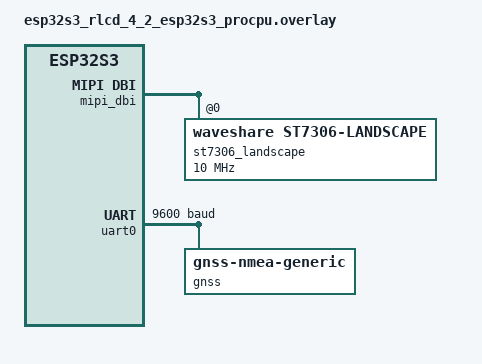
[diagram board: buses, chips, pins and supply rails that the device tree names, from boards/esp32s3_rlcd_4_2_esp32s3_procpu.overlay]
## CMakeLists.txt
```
# SPDX-License-Identifier: Apache-2.0

cmake_minimum_required(VERSION 3.28.0)

list(APPEND DTS_ROOT ${CMAKE_CURRENT_SOURCE_DIR})

find_package(Zephyr REQUIRED HINTS $ENV{ZEPHYR_BASE})
project(jumpback)

target_sources(app PRIVATE
	src/main.c
	src/tacho.c
	src/speed.c
	src/speedo.c
)

target_sources_ifdef(CONFIG_ST7306_WAVESHARE app PRIVATE
	drivers/display_st7306_waveshare.c
)

target_include_directories(app PRIVATE include)
```

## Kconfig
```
# Copyright (c) 2026 Josh Gav
# SPDX-License-Identifier: Apache-2.0

mainmenu "Jumpback"

config ST7306_WAVESHARE
	bool "Waveshare ST7306 landscape display driver"
	default y
	depends on DT_HAS_WAVESHARE_ST7306_LANDSCAPE_ENABLED
	select MIPI_DBI
	help
	  Landscape driver for the reflective LCD on the Waveshare
	  ESP32-S3-RLCD-4.2. Rotates the framebuffer in software.

if ST7306_WAVESHARE

config ST7306_WAVESHARE_CONV_BUFFER_STRIPS
	int "Conversion buffer size, in panel row-address strips"
	default 16
	range 1 200
	help
	  Rotated panel rows staged per SPI transaction, two rows per strip.
	  200 stages a whole 300x400 frame.

endif # ST7306_WAVESHARE

source "Kconfig.zephyr"
```

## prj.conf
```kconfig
CONFIG_DISPLAY=y
CONFIG_DISPLAY_LOG_LEVEL_ERR=y

CONFIG_LVGL=y
CONFIG_LV_Z_MEM_POOL_SIZE=65536
CONFIG_LV_USE_ASSERT_MALLOC=y
CONFIG_LV_Z_PARTIAL_REFRESH=y
CONFIG_LV_Z_VDB_SIZE=100
CONFIG_LV_FONT_MONTSERRAT_20=y
CONFIG_LV_FONT_MONTSERRAT_48=y

CONFIG_MAIN_STACK_SIZE=4096

CONFIG_LOG=y
CONFIG_LOG_MODE_IMMEDIATE=y

CONFIG_GNSS=y
CONFIG_GNSS_LOG_LEVEL_INF=y
CONFIG_GNSS_SATELLITES=n
CONFIG_SERIAL=y
CONFIG_UART_INTERRUPT_DRIVEN=y
```

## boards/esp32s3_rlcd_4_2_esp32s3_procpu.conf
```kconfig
CONFIG_ST7306_WAVESHARE_CONV_BUFFER_STRIPS=200
```

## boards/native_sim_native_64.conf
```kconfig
CONFIG_LV_COLOR_DEPTH_1=y
CONFIG_LV_Z_BITS_PER_PIXEL=1
CONFIG_SDL_DISPLAY_MONO_VTILED=n
```

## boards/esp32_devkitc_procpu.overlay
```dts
/*
 * Copyright (c) 2026 Josh Gav
 */

#include <zephyr/dt-bindings/gpio/gpio.h>

/ {
	aliases {
		led0 = &user_led;
	};

	leds {
		compatible = "gpio-leds";

		user_led: led_0 {
			gpios = <&gpio0 2 GPIO_ACTIVE_HIGH>;
			label = "User LED";
		};
	};
};
```

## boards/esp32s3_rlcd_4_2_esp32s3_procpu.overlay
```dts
/*
 * Copyright (c) 2026 Josh Gav
 *
 * SPDX-License-Identifier: Apache-2.0
 */

#include <dt-bindings/display/st7306.h>

#define RLCD_PANEL_WIDTH  300
#define RLCD_PANEL_HEIGHT 400

&st7306 {
	status = "disabled";
};

/ {
	mipi_dbi {
		st7306_landscape: st7306_landscape@0 {
			compatible = "waveshare,st7306-landscape";
			reg = <0>;
			status = "okay";

			mipi-max-frequency = <10000000>;
			mipi-mode = "MIPI_DBI_MODE_SPI_4WIRE";

			panel-width = <RLCD_PANEL_WIDTH>;
			panel-height = <RLCD_PANEL_HEIGHT>;
			width = <RLCD_PANEL_HEIGHT>;
			height = <RLCD_PANEL_WIDTH>;

			start-line = <0>;
			start-column = <216>;

			nvm-load = [17 02];
			gate-voltages = [11 04];
			vsh = [69 69 69 69];
			vsl = [19 19 19 19];
			vshn = [4b 4b 4b 4b];
			vsln = [19 19 19 19];
			osc-settings = <ST7306_OSC_ENABLE>;
			framerate = <(ST7306_FRAMERATE_HPM_51HZ | ST7306_FRAMERATE_LPM_1HZ)>;
			multiplex-ratio = <(RLCD_PANEL_HEIGHT / ST7306_GATE_LINES_PER_MULTIPLEX_STEP)>;
			source-voltage = <0>;
			remap-value = <(ST7306_MADCTL_MX | ST7306_MADCTL_DO)>;
			panel-settings = <0x29>;
			hpm-gate-waveform = [e5 f6 05 46 77 77 77 77 76 45];
			lpm-gate-waveform = [05 46 77 77 77 77 76 45];
		};
	};

	chosen {
		zephyr,display = &st7306_landscape;
	};

	aliases {
		gnss = &gnss;
	};
};

&uart0 {
	status = "okay";
	current-speed = <9600>;

	gnss: gnss {
		compatible = "gnss-nmea-generic";
		status = "okay";
	};
};
```

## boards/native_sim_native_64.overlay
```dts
/*
 * Copyright (c) 2026 Josh Gav
 *
 * SPDX-License-Identifier: Apache-2.0
 */

#include <zephyr/dt-bindings/display/panel.h>

&sdl_dc {
	width = <400>;
	height = <300>;
	pixel-format = <PANEL_PIXEL_FORMAT_MONO01>;
};

/ {
	gnss: gnss-emul {
		compatible = "zephyr,gnss-emul";
		status = "okay";
	};

	aliases {
		gnss = &gnss;
	};
};
```

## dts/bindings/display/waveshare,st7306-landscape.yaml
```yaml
# Copyright (c) 2026 Josh Gav
# SPDX-License-Identifier: Apache-2.0

title: ST7306 landscape display on the Waveshare ESP32-S3-RLCD-4.2

description: |
  Presents the physically portrait ST7306 panel as a landscape display by
  rotating the framebuffer in software. width and height are the landscape
  resolution the application draws into; panel-width and panel-height are the
  glass in its own portrait orientation, and must be their transpose.

  Register field values are named in dt-bindings/display/st7306.h.

compatible: "waveshare,st7306-landscape"

include: [mipi-dbi-spi-device.yaml, display-controller.yaml]

properties:
  panel-width:
    type: int
    required: true
    description: Portrait glass width in pixels. Multiple of ST7306_PIXELS_PER_COL_ADDR.

  panel-height:
    type: int
    required: true
    description: Portrait glass height in pixels. Multiple of 8.

  start-line:
    type: int
    required: true
    description: First gate line of display RAM shown on the glass.

  start-column:
    type: int
    required: true
    description: |
      First RAM column wired to glass, in pixels. Multiple of
      ST7306_PIXELS_PER_COL_ADDR.

  nvm-load:
    type: uint8-array
    required: true
    description: NVM_LOAD (0xD6) parameters.

  gate-voltages:
    type: uint8-array
    required: true
    description: GATE_VOLTAGE (0xC0) parameters.

  vsh:
    type: uint8-array
    required: true
    description: VSH (0xC1) high positive source voltage, per mode.

  vsl:
    type: uint8-array
    required: true
    description: VSL (0xC2) low positive source voltage, per mode.

  vshn:
    type: uint8-array
    required: true
    description: VSHN (0xC4) high negative source voltage, per mode.

  vsln:
    type: uint8-array
    required: true
    description: VSLN (0xC5) low negative source voltage, per mode.

  osc-settings:
    type: int
    required: true
    description: OSC_SETTINGS (0xD8) first parameter. See ST7306_OSC_*.

  framerate:
    type: int
    required: true
    description: FRAMERATE (0xB2). See ST7306_FRAMERATE_*.

  multiplex-ratio:
    type: int
    required: true
    description: GATESET (0xB0). Gate lines / ST7306_GATE_LINES_PER_MULTIPLEX_STEP.

  source-voltage:
    type: int
    required: true
    description: VSHLSEL (0xC9) source voltage mode.

  remap-value:
    type: int
    required: true
    description: MADCTL (0x36). See ST7306_MADCTL_*; MV must be clear and MX set.

  panel-settings:
    type: int
    required: true
    description: PNLSET (0xB8).

  hpm-gate-waveform:
    type: uint8-array
    default: [0xE5, 0xF6, 0x05, 0x46, 0x77, 0x77, 0x77, 0x77, 0x76, 0x45]
    description: HPM_GATE_WAVEFORM (0xB3).

  lpm-gate-waveform:
    type: uint8-array
    default: [0x05, 0x46, 0x77, 0x77, 0x77, 0x77, 0x76, 0x45]
    description: LPM_GATE_WAVEFORM (0xB4).

  inversion-on:
    type: boolean
    description: Send SET_REVERSE_DISPLAY instead of SET_NORMAL_DISPLAY.

  low-power-mode:
    type: boolean
    description: Run in low power mode instead of high power mode.
```

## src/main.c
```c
/*
 * Copyright (c) 2026 Josh Gav
 *
 * SPDX-License-Identifier: Apache-2.0
 */

#include <zephyr/device.h>
#include <zephyr/drivers/display.h>
#include <zephyr/kernel.h>
#include <zephyr/sys/util.h>
#include <lvgl.h>

#include "speed.h"
#include "speedo.h"
#include "tacho.h"
#include "ui.h"

#include <zephyr/logging/log.h>
LOG_MODULE_REGISTER(app, LOG_LEVEL_INF);

#define FRAME_INTERVAL_MS     20
#define SWEEP_PERIOD_MS       3000
#define SPEED_STALE_MS        3500
#define HEARTBEAT_INTERVAL_MS 1000

#define TENTHS_PER_UNIT 10U

#define DISPLAY_IS_ST7306_LANDSCAPE                                                                \
	DT_NODE_HAS_COMPAT(DT_CHOSEN(zephyr_display), waveshare_st7306_landscape)

struct frame_stats {
	uint32_t frames;
	int64_t render_ms;
};

#if DISPLAY_IS_ST7306_LANDSCAPE
static bool covers_screen(const lv_area_t *area)
{
	return lv_area_get_width(area) >= UI_SCREEN_W && lv_area_get_height(area) >= UI_SCREEN_H;
}

static void round_area_to_panel_units(lv_event_t *e)
{
	lv_area_t *area = lv_event_get_param(e);
	lv_area_t tacho_span;
	const bool tacho_span_known = tacho_dirty_span(&tacho_span);

	if (tacho_span_known && covers_screen(area)) {
		*area = tacho_span;
	}

	area->x1 = ROUND_DOWN(MAX(area->x1, 0), UI_FLUSH_ALIGN_X);
	area->y1 = ROUND_DOWN(MAX(area->y1, 0), UI_FLUSH_ALIGN_Y);
	area->x2 = MIN(ROUND_UP(area->x2 + 1, UI_FLUSH_ALIGN_X), UI_SCREEN_W) - 1;
	area->y2 = MIN(ROUND_UP(area->y2 + 1, UI_FLUSH_ALIGN_Y), UI_SCREEN_H) - 1;
}
#endif

static int32_t sweep_rpm(int64_t elapsed_ms, int32_t rpm_max)
{
	int32_t phase = (int32_t)(elapsed_ms % (2 * SWEEP_PERIOD_MS));

	if (phase >= SWEEP_PERIOD_MS) {
		phase = 2 * SWEEP_PERIOD_MS - phase;
	}

	return (int32_t)(((int64_t)phase * rpm_max) / SWEEP_PERIOD_MS);
}

static void current_speed(struct speed_reading *reading)
{
	speed_get(reading);

	if (reading->valid && k_uptime_get() - reading->timestamp_ms > SPEED_STALE_MS) {
		reading->valid = false;
	}
}

static void log_heartbeat(int32_t rpm, const struct speed_reading *reading,
			  const struct frame_stats *stats, int64_t window_ms)
{
#ifdef CONFIG_JUMPBACK_FPS_COUNTER
	const uint32_t fps_tenths =
		(uint32_t)(stats->frames * TENTHS_PER_UNIT * MSEC_PER_SEC / window_ms);
	const uint32_t render_ms =
		stats->frames ? (uint32_t)(stats->render_ms / stats->frames) : 0;
	char frame_rate[48];

	snprintk(frame_rate, sizeof(frame_rate), " | %u.%u fps | render %u ms",
		 fps_tenths / TENTHS_PER_UNIT, fps_tenths % TENTHS_PER_UNIT, render_ms);
#else
	ARG_UNUSED(stats);
	ARG_UNUSED(window_ms);
	const char *frame_rate = "";
#endif

	if (reading->valid) {
		LOG_INF("alive: rpm=%d | %u.%u mph%s", rpm, reading->mph_tenths / TENTHS_PER_UNIT,
			reading->mph_tenths % TENTHS_PER_UNIT, frame_rate);
	} else {
		LOG_INF("alive: rpm=%d | --- mph (sats=%u msgs=%u)%s", rpm,
			(unsigned int)reading->satellites, reading->msg_count, frame_rate);
	}
}

static void sleep_until_next_frame(int64_t *next_frame)
{
	const int64_t now = k_uptime_get();

	*next_frame += FRAME_INTERVAL_MS;

	if (*next_frame <= now) {
		*next_frame = now + FRAME_INTERVAL_MS;
	} else {
		k_msleep((int32_t)(*next_frame - now));
	}
}

int main(void)
{
	const struct device *display_dev = DEVICE_DT_GET(DT_CHOSEN(zephyr_display));
	static struct tacho tacho;
	static struct speedo speedo;
	static uint8_t tacho_buf[TACHO_BUF_SIZE(UI_GAUGE_W, UI_GAUGE_H)];
	lv_obj_t *screen;
	int err;

	if (!device_is_ready(display_dev)) {
		LOG_ERR("Display device not ready");
		return 0;
	}

#if DISPLAY_IS_ST7306_LANDSCAPE
	lv_display_add_event_cb(lv_display_get_default(), round_area_to_panel_units,
				LV_EVENT_INVALIDATE_AREA, NULL);
#endif

	screen = lv_screen_active();
	lv_obj_set_style_bg_color(screen, lv_color_hex(UI_COLOR_BG), LV_PART_MAIN);
	lv_obj_remove_flag(screen, LV_OBJ_FLAG_SCROLLABLE);

	lv_timer_handler();
	display_blanking_off(display_dev);

	err = tacho_init(&tacho, screen, NULL, tacho_buf, sizeof(tacho_buf));
	if (err) {
		LOG_ERR("Tacho init failed (%d)", err);
		return 0;
	}

	err = speedo_init(&speedo, screen);
	if (err) {
		LOG_ERR("Speedo init failed (%d)", err);
		return 0;
	}

	err = speed_init();
	if (err) {
		LOG_WRN("Speed source unavailable (%d); readout will show no fix", err);
	}

	const int32_t rpm_max = tacho_get_rpm_max(&tacho);
	const int64_t start = k_uptime_get();
	int64_t next_frame = start;
	int64_t last_heartbeat = start;
	struct frame_stats stats = {0};

	while (true) {
		const int32_t rpm = sweep_rpm(k_uptime_get() - start, rpm_max);
		struct speed_reading reading;

		tacho_set_rpm(&tacho, rpm);

		current_speed(&reading);
		speedo_update(&speedo, reading.mph_tenths, reading.valid);

		const int64_t render_start = k_uptime_get();

		lv_timer_handler();

		stats.render_ms += k_uptime_get() - render_start;
		stats.frames++;

		const int64_t since_heartbeat = k_uptime_get() - last_heartbeat;

		if (since_heartbeat >= HEARTBEAT_INTERVAL_MS) {
			last_heartbeat = k_uptime_get();
			log_heartbeat(rpm, &reading, &stats, since_heartbeat);
			stats = (struct frame_stats){0};
		}

		sleep_until_next_frame(&next_frame);
	}

	return 0;
}
```

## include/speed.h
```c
/*
 * Copyright (c) 2026 Josh Gav
 *
 * SPDX-License-Identifier: Apache-2.0
 */

#ifndef SPEED_H_
#define SPEED_H_

#include <stdbool.h>
#include <stdint.h>

struct speed_reading {
	uint32_t mph_tenths;
	bool valid;
	int64_t timestamp_ms;
	uint32_t msg_count;
	uint16_t satellites;
};

int speed_init(void);

void speed_get(struct speed_reading *out);

uint32_t speed_mms_to_mph_tenths(uint32_t mm_per_s);

#endif /* SPEED_H_ */
```

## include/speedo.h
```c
/*
 * Copyright (c) 2026 Josh Gav
 *
 * SPDX-License-Identifier: Apache-2.0
 */

#ifndef SPEEDO_H_
#define SPEEDO_H_

#include <lvgl.h>
#include <stdbool.h>
#include <stdint.h>

struct speedo {
	lv_obj_t *value;
	lv_obj_t *caption;
	int32_t shown_mph;
	bool shown_invalid;
};

int speedo_init(struct speedo *s, lv_obj_t *parent);

void speedo_update(struct speedo *s, uint32_t mph_tenths, bool valid);

#endif /* SPEEDO_H_ */
```

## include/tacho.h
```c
/*
 * Copyright (c) 2026 Josh Gav
 *
 * SPDX-License-Identifier: Apache-2.0
 */

#ifndef TACHO_H_
#define TACHO_H_

#include <lvgl.h>
#include <stdbool.h>
#include <stdint.h>

struct tacho_config {
	int32_t width;
	int32_t height;
	int32_t rpm_min;
	int32_t rpm_max;
	int32_t tick_interval;
	uint32_t color_track;
	uint32_t color_fill;
};

struct tacho {
	lv_obj_t *canvas;
	struct tacho_config cfg;
	int32_t rpm;
	void *buf;
};

#if LV_COLOR_DEPTH == 1
#define TACHO_COLOR_FORMAT LV_COLOR_FORMAT_I1
#define TACHO_BPP          1
#else
#define TACHO_COLOR_FORMAT LV_COLOR_FORMAT_RGB565
#define TACHO_BPP          16
#endif

#define TACHO_BUF_SIZE(w, h) LV_CANVAS_BUF_SIZE(w, h, TACHO_BPP, LV_DRAW_BUF_STRIDE_ALIGN)

int tacho_init(struct tacho *t, lv_obj_t *parent, const struct tacho_config *cfg, void *buf,
	       size_t buf_size);

void tacho_set_rpm(struct tacho *t, int32_t rpm);

int32_t tacho_get_rpm(const struct tacho *t);

int32_t tacho_get_rpm_max(const struct tacho *t);

void tacho_add_dirty(const lv_area_t *area);

bool tacho_dirty_span(lv_area_t *out);

#endif /* TACHO_H_ */
```

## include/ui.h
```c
/*
 * Copyright (c) 2026 Josh Gav
 *
 * SPDX-License-Identifier: Apache-2.0
 */

#ifndef UI_H_
#define UI_H_

#include <zephyr/devicetree.h>
#include <zephyr/sys/util.h>

#include <dt-bindings/display/st7306.h>

#define UI_SCREEN_W DT_PROP(DT_CHOSEN(zephyr_display), width)
#define UI_SCREEN_H DT_PROP(DT_CHOSEN(zephyr_display), height)

#define UI_COLOR_WHITE 0xffffff
#define UI_COLOR_BLACK 0x000000

#define UI_COLOR_BG    UI_COLOR_WHITE
#define UI_COLOR_TEXT  UI_COLOR_BLACK
#define UI_COLOR_DIM   UI_COLOR_BLACK
#define UI_COLOR_ALERT UI_COLOR_BLACK

#define UI_GAUGE_W UI_SCREEN_W
#define UI_GAUGE_H UI_SCREEN_H

#define UI_FLUSH_ALIGN_X BITS_PER_BYTE
#define UI_FLUSH_ALIGN_Y ST7306_PIXELS_PER_COL_ADDR

#endif /* UI_H_ */
```

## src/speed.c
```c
/*
 * Copyright (c) 2026 Josh Gav
 *
 * SPDX-License-Identifier: Apache-2.0
 */

#include <zephyr/devicetree.h>
#include <zephyr/kernel.h>

#include "speed.h"

#include <zephyr/logging/log.h>
LOG_MODULE_REGISTER(speed, LOG_LEVEL_INF);

#define GNSS_NODE DT_ALIAS(gnss)

#define UM_PER_MM                1000U
#define UM_PER_S_PER_MPH_TENTH   44704U

uint32_t speed_mms_to_mph_tenths(uint32_t mm_per_s)
{
	return (uint32_t)(((uint64_t)mm_per_s * UM_PER_MM) / UM_PER_S_PER_MPH_TENTH);
}

#if DT_NODE_HAS_STATUS(GNSS_NODE, okay)

#include <zephyr/drivers/gnss.h>

static struct speed_reading published;
static struct k_spinlock published_lock;
static uint32_t msg_count;

static void speed_data_cb(const struct device *dev, const struct gnss_data *data)
{
	ARG_UNUSED(dev);

	msg_count++;

	struct speed_reading reading = {
		.timestamp_ms = k_uptime_get(),
		.msg_count = msg_count,
		.satellites = data->info.satellites_cnt,
	};

	if (data->info.fix_status != GNSS_FIX_STATUS_NO_FIX) {
		reading.valid = true;
		reading.mph_tenths = speed_mms_to_mph_tenths(data->nav_data.speed);
	}

	K_SPINLOCK(&published_lock) {
		published = reading;
	}
}

GNSS_DT_DATA_CALLBACK_DEFINE(GNSS_NODE, speed_data_cb);

int speed_init(void)
{
	const struct device *dev = DEVICE_DT_GET(GNSS_NODE);

	if (!device_is_ready(dev)) {
		LOG_ERR("GNSS device not ready");
		return -ENODEV;
	}

	LOG_INF("GNSS ready, waiting for fix");
	return 0;
}

void speed_get(struct speed_reading *out)
{
	K_SPINLOCK(&published_lock) {
		*out = published;
	}
}

#else

int speed_init(void)
{
	LOG_WRN("No GNSS device in devicetree; speed readout inactive");
	return -ENODEV;
}

void speed_get(struct speed_reading *out)
{
	*out = (struct speed_reading){0};
}

#endif
```

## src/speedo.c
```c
/*
 * Copyright (c) 2026 Josh Gav
 *
 * SPDX-License-Identifier: Apache-2.0
 */

#include <errno.h>
#include <stdio.h>
#include <zephyr/kernel.h>
#include <lvgl.h>

#include "speedo.h"
#include "tacho.h"
#include "ui.h"

#define SPEEDO_W      200
#define SPEEDO_H      60
#define CAPTION_H     24
#define SPEEDO_MARGIN 16

#define VALUE_FONT   lv_font_montserrat_48
#define CAPTION_FONT lv_font_montserrat_20
#define CAPTION_TEXT "MPH"
#define NO_FIX_TEXT  "---"

#define MPH_TENTHS_PER_MPH 10U
#define SPEEDO_MPH_MAX     999
#define SPEEDO_MPH_DIGITS  3

#define SHOWN_MPH_NONE (-1)

static void speedo_mark_dirty(const struct speedo *s)
{
	lv_area_t area;
	lv_area_t caption_area;

	lv_obj_get_coords(s->value, &area);
	lv_obj_get_coords(s->caption, &caption_area);

	area.x1 = MIN(area.x1, caption_area.x1);
	area.y1 = MIN(area.y1, caption_area.y1);
	area.x2 = MAX(area.x2, caption_area.x2);
	area.y2 = MAX(area.y2, caption_area.y2);

	tacho_add_dirty(&area);
}

static lv_obj_t *speedo_label_create(lv_obj_t *parent, int32_t height, int32_t bottom_offset,
				     const lv_font_t *font, uint32_t color)
{
	lv_obj_t *label = lv_label_create(parent);

	if (label == NULL) {
		return NULL;
	}

	lv_obj_set_size(label, SPEEDO_W, height);
	lv_obj_align(label, LV_ALIGN_BOTTOM_RIGHT, -SPEEDO_MARGIN, -bottom_offset);
	lv_obj_set_style_text_font(label, font, LV_PART_MAIN);
	lv_obj_set_style_text_color(label, lv_color_hex(color), LV_PART_MAIN);
	lv_obj_set_style_text_align(label, LV_TEXT_ALIGN_RIGHT, LV_PART_MAIN);
	lv_obj_set_style_bg_color(label, lv_color_hex(UI_COLOR_BG), LV_PART_MAIN);
	lv_obj_set_style_bg_opa(label, LV_OPA_COVER, LV_PART_MAIN);
	lv_obj_set_style_pad_all(label, 0, LV_PART_MAIN);

	return label;
}

int speedo_init(struct speedo *s, lv_obj_t *parent)
{
	if (s == NULL || parent == NULL) {
		return -EINVAL;
	}

	*s = (struct speedo){
		.shown_mph = SHOWN_MPH_NONE,
	};

	s->value = speedo_label_create(parent, SPEEDO_H, SPEEDO_MARGIN + CAPTION_H, &VALUE_FONT,
				       UI_COLOR_TEXT);
	if (s->value == NULL) {
		return -ENOMEM;
	}

	s->caption = speedo_label_create(parent, CAPTION_H, SPEEDO_MARGIN, &CAPTION_FONT,
					 UI_COLOR_DIM);
	if (s->caption == NULL) {
		return -ENOMEM;
	}

	lv_label_set_text(s->caption, CAPTION_TEXT);
	lv_label_set_text(s->value, NO_FIX_TEXT);
	s->shown_invalid = true;

	speedo_mark_dirty(s);

	return 0;
}

void speedo_update(struct speedo *s, uint32_t mph_tenths, bool valid)
{
	char text[SPEEDO_MPH_DIGITS + 1];

	if (!valid) {
		if (s->shown_invalid) {
			return;
		}

		lv_label_set_text(s->value, NO_FIX_TEXT);
		s->shown_invalid = true;
		s->shown_mph = SHOWN_MPH_NONE;
		speedo_mark_dirty(s);
		return;
	}

	const int32_t mph =
		MIN((int32_t)DIV_ROUND_CLOSEST(mph_tenths, MPH_TENTHS_PER_MPH), SPEEDO_MPH_MAX);

	if (!s->shown_invalid && mph == s->shown_mph) {
		return;
	}

	snprintf(text, sizeof(text), "%d", mph);
	lv_label_set_text(s->value, text);

	s->shown_mph = mph;
	s->shown_invalid = false;

	speedo_mark_dirty(s);
}
```

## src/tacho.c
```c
/*
 * Copyright (c) 2026 Josh Gav
 *
 * SPDX-License-Identifier: Apache-2.0
 */

#include <errno.h>
#include <zephyr/kernel.h>
#include <lvgl.h>

#include "tacho.h"
#include "ui.h"

#define DEF_W             UI_GAUGE_W
#define DEF_H             UI_GAUGE_H
#define DEF_RPM_MAX       8000
#define DEF_TICK_INTERVAL 1000
#define DEF_COLOR_TRACK   UI_COLOR_DIM
#define DEF_COLOR_FILL    UI_COLOR_ALERT

#define TRACK_WIDTH        26
#define TRACK_BORDER       3
#define TRACK_HOLLOW_WIDTH (TRACK_WIDTH - 2 * TRACK_BORDER)
#define TRACK_EDGE_MARGIN  2
#define TRACK_INSET        (TRACK_WIDTH / 2 + TRACK_EDGE_MARGIN)
#define TRACK_CORNER_LEAN  30
#define TRACK_POINT_COUNT  3

#define TICK_WIDTH    4
#define TICK_HALF_LEN (TRACK_WIDTH / 2)

#define LABEL_FONT            lv_font_montserrat_20
#define LABEL_BOX_W           32
#define LABEL_BOX_H           26
#define LABEL_TRACK_CLEARANCE 4
#define LABEL_OFFSET          (TRACK_WIDTH / 2 + LABEL_BOX_H / 2 + LABEL_TRACK_CLEARANCE)
#define LABEL_RPM_PER_DIGIT   1000
#define LABEL_TEXT_LEN        8

#define DIRTY_SLACK 1
#define DIRTY_PAD   (TRACK_WIDTH / 2 + TICK_HALF_LEN + DIRTY_SLACK)

#define NORMAL_UNIT 1024

#define I1_INDEX_0_FILL 0x00
#define I1_INDEX_1_FILL 0xff

struct track_point {
	lv_point_t point;
	int32_t normal_x;
	int32_t normal_y;
};

static lv_area_t tacho_dirty;
static bool tacho_dirty_valid;

static lv_area_t tacho_extra;
static bool tacho_extra_valid;

static void track_points(const struct tacho *t, lv_point_precise_t pts[TRACK_POINT_COUNT])
{
	const int32_t w = t->cfg.width;
	const int32_t h = t->cfg.height;

	pts[0].x = TRACK_INSET;
	pts[0].y = h - TRACK_INSET;
	pts[1].x = TRACK_INSET + TRACK_CORNER_LEAN;
	pts[1].y = TRACK_INSET;
	pts[2].x = w - TRACK_INSET;
	pts[2].y = TRACK_INSET;
}

static int32_t seg_len(const lv_point_precise_t *a, const lv_point_precise_t *b)
{
	const int32_t dx = (int32_t)(b->x - a->x);
	const int32_t dy = (int32_t)(b->y - a->y);

	if (dx == 0) {
		return dy < 0 ? -dy : dy;
	}
	if (dy == 0) {
		return dx < 0 ? -dx : dx;
	}

	return (int32_t)lv_sqrt32((uint32_t)(dx * dx + dy * dy));
}

static int32_t track_total_len(const lv_point_precise_t *pts)
{
	int32_t total = 0;

	for (uint32_t i = 0; i + 1 < TRACK_POINT_COUNT; i++) {
		total += seg_len(&pts[i], &pts[i + 1]);
	}

	return total;
}

static int32_t rpm_to_dist(const struct tacho *t, int32_t rpm, int32_t total)
{
	return (total * (rpm - t->cfg.rpm_min)) / (t->cfg.rpm_max - t->cfg.rpm_min);
}

static bool track_point_at(const lv_point_precise_t *pts, int32_t dist, struct track_point *out)
{
	int32_t remaining = dist;

	for (uint32_t i = 0; i + 1 < TRACK_POINT_COUNT; i++) {
		const lv_point_precise_t *a = &pts[i];
		const lv_point_precise_t *b = &pts[i + 1];
		const int32_t len = seg_len(a, b);

		if (len == 0) {
			continue;
		}

		if (remaining <= len) {
			const int32_t dx = (int32_t)(b->x - a->x);
			const int32_t dy = (int32_t)(b->y - a->y);

			out->point.x = (int32_t)a->x + (dx * remaining) / len;
			out->point.y = (int32_t)a->y + (dy * remaining) / len;
			out->normal_x = (-dy * NORMAL_UNIT) / len;
			out->normal_y = (dx * NORMAL_UNIT) / len;

			return true;
		}

		remaining -= len;
	}

	return false;
}

static lv_point_precise_t along_normal(const struct track_point *tp, int32_t distance)
{
	return (lv_point_precise_t){
		.x = tp->point.x + (tp->normal_x * distance) / NORMAL_UNIT,
		.y = tp->point.y + (tp->normal_y * distance) / NORMAL_UNIT,
	};
}

static void draw_partial(lv_layer_t *layer, lv_draw_line_dsc_t *dsc,
			 const lv_point_precise_t *pts, int32_t fill_len)
{
	int32_t remaining = fill_len;

	for (uint32_t i = 0; i + 1 < TRACK_POINT_COUNT && remaining > 0; i++) {
		const lv_point_precise_t *a = &pts[i];
		const lv_point_precise_t *b = &pts[i + 1];
		const int32_t len = seg_len(a, b);

		if (len == 0) {
			continue;
		}

		dsc->p1 = *a;

		if (remaining >= len) {
			dsc->p2 = *b;
		} else {
			dsc->p2.x = a->x + ((b->x - a->x) * remaining) / len;
			dsc->p2.y = a->y + ((b->y - a->y) * remaining) / len;
		}

		lv_draw_line(layer, dsc);
		remaining -= len;
	}
}

static void draw_ticks(const struct tacho *t, lv_layer_t *layer, const lv_point_precise_t *pts,
		       int32_t total)
{
	lv_draw_line_dsc_t tick;
	lv_draw_label_dsc_t label;
	char text[LABEL_TEXT_LEN];

	lv_draw_line_dsc_init(&tick);
	tick.width = TICK_WIDTH;
	tick.opa = LV_OPA_COVER;
	tick.color = lv_color_hex(UI_COLOR_BG);

	lv_draw_label_dsc_init(&label);
	label.color = lv_color_hex(UI_COLOR_TEXT);
	label.font = &LABEL_FONT;
	label.align = LV_TEXT_ALIGN_CENTER;
	label.text = text;
	label.text_local = 1;

	for (int32_t rpm = t->cfg.rpm_min; rpm <= t->cfg.rpm_max; rpm += t->cfg.tick_interval) {
		struct track_point tp;

		if (!track_point_at(pts, rpm_to_dist(t, rpm, total), &tp)) {
			continue;
		}

		tick.p1 = along_normal(&tp, -TICK_HALF_LEN);
		tick.p2 = along_normal(&tp, TICK_HALF_LEN);
		lv_draw_line(layer, &tick);

		const lv_point_precise_t centre = along_normal(&tp, LABEL_OFFSET);
		const lv_area_t box = {
			.x1 = centre.x - LABEL_BOX_W / 2,
			.x2 = centre.x + LABEL_BOX_W / 2,
			.y1 = centre.y - LABEL_BOX_H / 2,
			.y2 = centre.y + LABEL_BOX_H / 2,
		};

		lv_snprintf(text, sizeof(text), "%d", (int)(rpm / LABEL_RPM_PER_DIGIT));
		lv_draw_label(layer, &label, &box);
	}
}

#if LV_COLOR_DEPTH == 1
static uint8_t i1_fill_byte(lv_color_t color)
{
	const bool is_index_1 = lv_color_luminance(color) > LV_DRAW_SW_I1_LUM_THRESHOLD;

	return is_index_1 ? I1_INDEX_1_FILL : I1_INDEX_0_FILL;
}

static void canvas_clear(lv_obj_t *canvas, lv_color_t color)
{
	lv_draw_buf_t *draw_buf = lv_canvas_get_draw_buf(canvas);
	uint8_t *pixels;

	if (draw_buf == NULL) {
		return;
	}

	pixels = lv_draw_buf_goto_xy(draw_buf, 0, 0);
	if (pixels == NULL) {
		return;
	}

	lv_memset(pixels, i1_fill_byte(color), draw_buf->header.stride * draw_buf->header.h);
	lv_draw_buf_flush_cache(draw_buf, NULL);
}
#else
static void canvas_clear(lv_obj_t *canvas, lv_color_t color)
{
	lv_canvas_fill_bg(canvas, color, LV_OPA_COVER);
}
#endif

static void area_union(lv_area_t *into, const lv_area_t *other)
{
	into->x1 = MIN(into->x1, other->x1);
	into->y1 = MIN(into->y1, other->y1);
	into->x2 = MAX(into->x2, other->x2);
	into->y2 = MAX(into->y2, other->y2);
}

void tacho_add_dirty(const lv_area_t *area)
{
	if (!tacho_extra_valid) {
		tacho_extra = *area;
		tacho_extra_valid = true;
		return;
	}

	area_union(&tacho_extra, area);
}

bool tacho_dirty_span(lv_area_t *out)
{
	const bool have_extra = tacho_extra_valid;
	const lv_area_t extra = tacho_extra;

	tacho_extra_valid = false;

	if (!tacho_dirty_valid) {
		return false;
	}

	*out = tacho_dirty;

	if (have_extra) {
		area_union(out, &extra);
	}

	return true;
}

static void mark_everything_dirty(const struct tacho *t)
{
	tacho_dirty_valid = false;
	lv_obj_invalidate(t->canvas);
}

static void mark_fill_change_dirty(const struct tacho *t, const lv_point_precise_t *pts,
				   int32_t total, int32_t old_rpm, int32_t new_rpm)
{
	struct track_point old_end;
	struct track_point new_end;

	if (!track_point_at(pts, rpm_to_dist(t, old_rpm, total), &old_end) ||
	    !track_point_at(pts, rpm_to_dist(t, new_rpm, total), &new_end)) {
		mark_everything_dirty(t);
		return;
	}

	tacho_dirty = (lv_area_t){
		.x1 = MAX(MIN(old_end.point.x, new_end.point.x) - DIRTY_PAD, 0),
		.y1 = MAX(MIN(old_end.point.y, new_end.point.y) - DIRTY_PAD, 0),
		.x2 = MIN(MAX(old_end.point.x, new_end.point.x) + DIRTY_PAD, t->cfg.width - 1),
		.y2 = MIN(MAX(old_end.point.y, new_end.point.y) + DIRTY_PAD, t->cfg.height - 1),
	};
	tacho_dirty_valid = true;
}

static void tacho_render(const struct tacho *t, const lv_point_precise_t *pts, int32_t total)
{
	lv_layer_t layer;
	lv_draw_line_dsc_t dsc;

	canvas_clear(t->canvas, lv_color_hex(UI_COLOR_BG));
	lv_canvas_init_layer(t->canvas, &layer);

	lv_draw_line_dsc_init(&dsc);
	dsc.opa = LV_OPA_COVER;
	dsc.round_start = 1;
	dsc.round_end = 1;

	dsc.width = TRACK_WIDTH;
	dsc.color = lv_color_hex(t->cfg.color_track);
	draw_partial(&layer, &dsc, pts, total);

	dsc.width = TRACK_HOLLOW_WIDTH;
	dsc.color = lv_color_hex(UI_COLOR_BG);
	draw_partial(&layer, &dsc, pts, total);

	dsc.color = lv_color_hex(t->cfg.color_fill);
	draw_partial(&layer, &dsc, pts, rpm_to_dist(t, t->rpm, total));

	draw_ticks(t, &layer, pts, total);

	lv_canvas_finish_layer(t->canvas, &layer);
}

static void apply_defaults(struct tacho_config *cfg)
{
	if (cfg->width == 0) {
		cfg->width = DEF_W;
	}
	if (cfg->height == 0) {
		cfg->height = DEF_H;
	}
	if (cfg->rpm_max == 0) {
		cfg->rpm_max = DEF_RPM_MAX;
	}
	if (cfg->tick_interval == 0) {
		cfg->tick_interval = DEF_TICK_INTERVAL;
	}
	if (cfg->color_track == 0) {
		cfg->color_track = DEF_COLOR_TRACK;
	}
	if (cfg->color_fill == 0) {
		cfg->color_fill = DEF_COLOR_FILL;
	}
}

int tacho_init(struct tacho *t, lv_obj_t *parent, const struct tacho_config *cfg, void *buf,
	       size_t buf_size)
{
	static const struct tacho_config all_defaults;
	lv_point_precise_t pts[TRACK_POINT_COUNT];

	if (t == NULL || parent == NULL || buf == NULL) {
		return -EINVAL;
	}

	t->cfg = (cfg != NULL) ? *cfg : all_defaults;
	apply_defaults(&t->cfg);

	if (t->cfg.rpm_max <= t->cfg.rpm_min || t->cfg.tick_interval <= 0) {
		return -EINVAL;
	}

	if (buf_size < TACHO_BUF_SIZE(t->cfg.width, t->cfg.height)) {
		return -ENOMEM;
	}

	t->buf = buf;
	t->rpm = t->cfg.rpm_min;

	t->canvas = lv_canvas_create(parent);
	if (t->canvas == NULL) {
		return -ENOMEM;
	}

	lv_canvas_set_buffer(t->canvas, t->buf, t->cfg.width, t->cfg.height, TACHO_COLOR_FORMAT);

#if LV_COLOR_DEPTH == 1
	lv_canvas_set_palette(t->canvas, 0,
			      lv_color_to_32(lv_color_hex(UI_COLOR_BG), LV_OPA_COVER));
	lv_canvas_set_palette(t->canvas, 1,
			      lv_color_to_32(lv_color_hex(UI_COLOR_TEXT), LV_OPA_COVER));
#endif

	lv_obj_center(t->canvas);

	track_points(t, pts);
	tacho_render(t, pts, track_total_len(pts));
	mark_everything_dirty(t);

	return 0;
}

void tacho_set_rpm(struct tacho *t, int32_t rpm)
{
	lv_point_precise_t pts[TRACK_POINT_COUNT];
	int32_t total;

	rpm = CLAMP(rpm, t->cfg.rpm_min, t->cfg.rpm_max);

	if (rpm == t->rpm) {
		return;
	}

	const int32_t old_rpm = t->rpm;

	t->rpm = rpm;

	track_points(t, pts);
	total = track_total_len(pts);
	tacho_render(t, pts, total);
	mark_fill_change_dirty(t, pts, total, old_rpm, rpm);
}

int32_t tacho_get_rpm(const struct tacho *t)
{
	return t->rpm;
}

int32_t tacho_get_rpm_max(const struct tacho *t)
{
	return t->cfg.rpm_max;
}
```
